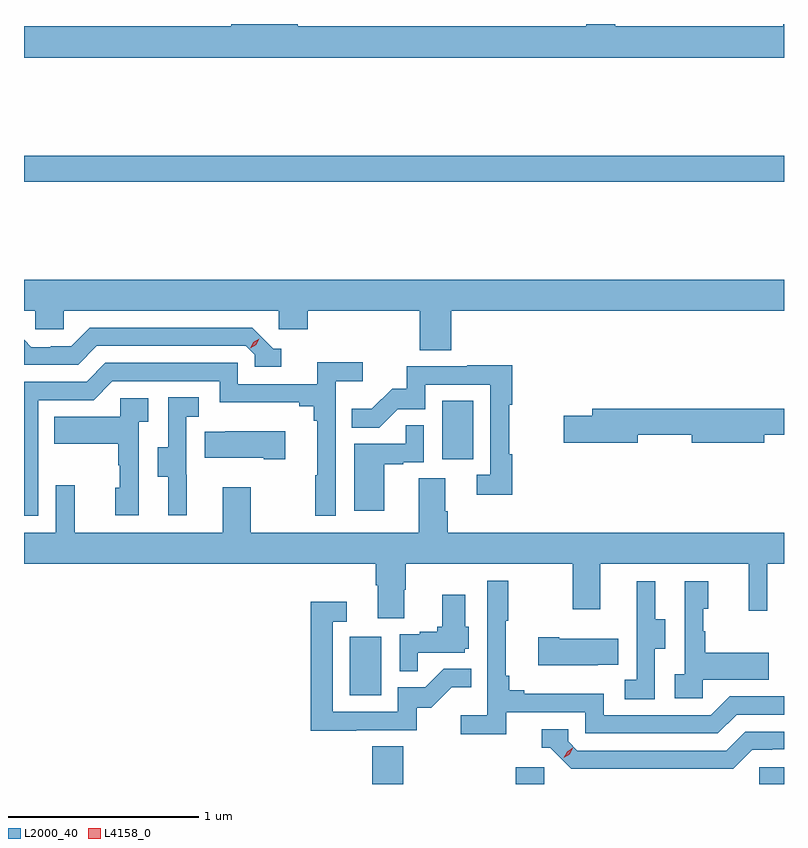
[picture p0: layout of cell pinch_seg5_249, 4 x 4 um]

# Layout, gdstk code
import gdstk
lib = gdstk.Library(unit=1e-6, precision=1e-09)
def R(c, l, rs):  # rectangles x0, y0, x1, y1
    for r in rs: c.add(gdstk.rectangle(r[:2], r[2:], *l))
def P(c, l, *ps):  # polygons
    for p in ps: c.add(gdstk.Polygon(p, *l))
L2000_40 = (2000, 40)
L4158_0 = (4158, 0)

pinch_seg5_249 = lib.new_cell('pinch_seg5_249')
R(pinch_seg5_249, L2000_40, [(937.331,892.897,937.496,893.096), (938.087,892.897,938.238,892.986), (939.369,892.897,939.499,892.986), (937.214,893.364,937.378,893.671), (937.7,894.606,937.864,894.913), (935.499,896.068,939.499,896.204)])
P(pinch_seg5_249, L2000_40, [(939.499,896.897),(939.496,896.897),(939.496,896.884),(938.611,896.884),(938.611,896.897),(938.459,896.897),(938.459,896.884),(936.94,896.884),(936.94,896.897),(936.59,896.897),(936.59,896.884),(935.499,896.884),(935.499,896.72),(939.499,896.72)],
  [(937.748,895.388),(939.499,895.388),(939.499,895.552),(935.499,895.552),(935.499,895.388),(935.559,895.388),(935.559,895.29),(935.709,895.29),(935.709,895.388),(936.84,895.388),(936.84,895.29),(936.992,895.29),(936.992,895.388),(937.583,895.388),(937.583,895.18),(937.748,895.18)],
  [(936.853,895.188),(936.81,895.188),(936.699,895.299),(935.846,895.299),(935.747,895.2),(935.64,895.2),(935.64,895.197),(935.537,895.197),(935.499,895.236),(935.499,895.104),(935.784,895.104),(935.883,895.203),(936.666,895.203),(936.714,895.155),(936.714,895.092),(936.853,895.092)],
  [(935.574,894.918),(935.865,894.918),(935.964,895.017),(936.528,895.017),(936.528,894.905),(936.947,894.905),(936.947,894.886),(937.024,894.886),(937.024,894.809),(937.043,894.809),(937.043,894.521),(937.032,894.521),(937.032,894.309),(937.14,894.309),(937.14,895.016),(937.282,895.016),(937.282,895.118),(937.043,895.118),(937.043,895.002),(936.624,895.002),(936.624,895.113),(935.927,895.113),(935.828,895.014),(935.499,895.014),(935.499,894.309),(935.574,894.309)],
  [(938.069,894.632),(938.054,894.632),(938.054,894.892),(938.069,894.892),(938.069,895.1),(937.831,895.1),(937.831,895.095),(937.513,895.095),(937.513,894.978),(937.436,894.978),(937.329,894.871),(937.225,894.871),(937.225,894.772),(937.369,894.772),(937.467,894.87),(937.611,894.87),(937.611,894.999),(937.953,894.999),(937.953,894.525),(937.881,894.525),(937.881,894.42),(938.069,894.42)],
  [(936.356,894.525),(936.354,894.525),(936.354,894.829),(936.418,894.829),(936.418,894.932),(936.258,894.932),(936.258,894.669),(936.203,894.669),(936.203,894.514),(936.257,894.514),(936.257,894.312),(936.356,894.312)],
  [(936.102,894.803),(936.154,894.803),(936.154,894.927),(936.006,894.927),(936.006,894.829),(935.659,894.829),(935.659,894.689),(935.994,894.689),(935.994,894.575),(936.004,894.575),(936.004,894.456),(935.978,894.456),(935.978,894.312),(936.102,894.312)],
  [(938.728,894.736),(939.014,894.736),(939.014,894.694),(939.394,894.694),(939.394,894.736),(939.499,894.736),(939.499,894.872),(938.489,894.872),(938.489,894.836),(938.34,894.836),(938.34,894.694),(938.728,894.694)],
  [(937.396,894.579),(937.496,894.579),(937.496,894.591),(937.602,894.591),(937.602,894.785),(937.507,894.785),(937.507,894.687),(937.238,894.687),(937.238,894.336),(937.396,894.336)],
  [(936.874,894.754),(936.559,894.754),(936.559,894.751),(936.451,894.751),(936.451,894.614),(936.761,894.614),(936.761,894.607),(936.874,894.607)],
  [(937.501,893.919),(937.509,893.919),(937.509,894.056),(938.386,894.056),(938.386,893.817),(938.533,893.817),(938.533,894.056),(939.314,894.056),(939.314,893.808),(939.411,893.808),(939.411,894.056),(939.499,894.056),(939.499,894.22),(937.73,894.22),(937.73,894.332),(937.717,894.332),(937.717,894.506),(937.577,894.506),(937.577,894.22),(936.693,894.22),(936.693,894.46),(936.545,894.46),(936.545,894.22),(935.765,894.22),(935.765,894.469),(935.667,894.469),(935.667,894.22),(935.499,894.22),(935.499,894.056),(937.349,894.056),(937.349,893.944),(937.361,893.944),(937.361,893.77),(937.501,893.77)],
  [(938.036,893.274),(938.454,893.274),(938.454,893.163),(939.151,893.163),(939.25,893.262),(939.499,893.262),(939.499,893.358),(939.213,893.358),(939.114,893.259),(938.55,893.259),(938.55,893.371),(938.131,893.371),(938.131,893.39),(938.054,893.39),(938.054,893.467),(938.035,893.467),(938.035,893.755),(938.047,893.755),(938.047,893.968),(937.938,893.968),(937.938,893.26),(937.797,893.26),(937.797,893.158),(938.036,893.158)],
  [(939.072,893.447),(939.419,893.447),(939.419,893.587),(939.085,893.587),(939.085,893.702),(939.075,893.702),(939.075,893.82),(939.1,893.82),(939.1,893.965),(938.976,893.965),(938.976,893.474),(938.925,893.474),(938.925,893.349),(939.072,893.349)],
  [(938.82,893.608),(938.875,893.608),(938.875,893.763),(938.821,893.763),(938.821,893.965),(938.723,893.965),(938.723,893.751),(938.724,893.751),(938.724,893.447),(938.661,893.447),(938.661,893.344),(938.82,893.344)],
  [(937.571,893.589),(937.818,893.589),(937.818,893.61),(937.84,893.61),(937.84,893.724),(937.822,893.724),(937.822,893.893),(937.7,893.893),(937.7,893.724),(937.675,893.724),(937.675,893.698),(937.583,893.698),(937.583,893.685),(937.476,893.685),(937.476,893.491),(937.571,893.491)],
  [(937.247,893.181),(937.566,893.181),(937.566,893.298),(937.642,893.298),(937.749,893.405),(937.853,893.405),(937.853,893.504),(937.709,893.504),(937.611,893.406),(937.467,893.406),(937.467,893.277),(937.125,893.277),(937.125,893.751),(937.198,893.751),(937.198,893.857),(937.009,893.857),(937.009,893.176),(937.247,893.176)],
  [(938.519,893.525),(938.627,893.525),(938.627,893.662),(938.317,893.662),(938.317,893.67),(938.205,893.67),(938.205,893.522),(938.519,893.522)],
  [(939.331,893.076),(939.438,893.076),(939.438,893.079),(939.499,893.079),(939.499,893.172),(939.294,893.172),(939.195,893.073),(938.412,893.073),(938.364,893.121),(938.364,893.184),(938.225,893.184),(938.225,893.088),(938.268,893.088),(938.379,892.977),(939.232,892.977)])
P(pinch_seg5_249, L4158_0, [(936.689,895.19),(936.689,895.19),(936.706,895.222),(936.737,895.241),(936.737,895.241),(936.737,895.241),(936.721,895.209),(936.69,895.19)],
  [(938.341,893.035),(938.341,893.035),(938.357,893.067),(938.388,893.087),(938.388,893.087),(938.388,893.086),(938.372,893.054),(938.341,893.035)])

lib.write_gds('pinch_seg5_249.gds')
